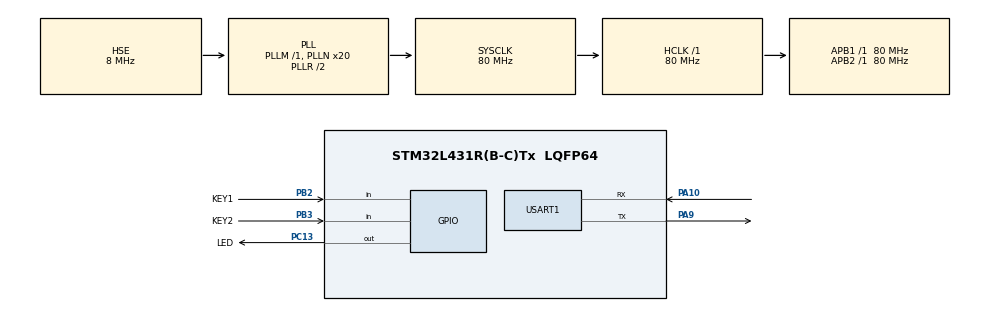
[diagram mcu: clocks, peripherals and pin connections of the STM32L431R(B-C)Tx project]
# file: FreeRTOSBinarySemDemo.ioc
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FREERTOS.BinarySemaphores01=myBinarySem01,Dynamic,NULL
FREERTOS.Tasks01=Receive_Task,0,128,StartDefaultTask,Default,NULL,Dynamic,NULL,NULL;Send_Task,-2,128,StartTask02,Default,NULL,Dynamic,NULL,NULL
Mcu.Family=STM32L4
Mcu.Name=STM32L431R(B-C)Tx
Mcu.Package=LQFP64
NVIC.PriorityGroup=NVIC_PRIORITYGROUP_4
NVIC.TIM1_UP_TIM16_IRQn=true\:0\:0\:false\:false\:true\:false\:false\:true
NVIC.TimeBase=TIM1_UP_TIM16_IRQn
NVIC.TimeBaseIP=TIM1
PA10.Mode=Asynchronous
PA10.Signal=USART1_RX
PA9.Mode=Asynchronous
PA9.Signal=USART1_TX
PB2.GPIO_Label=KEY1
PB2.GPIO_PuPd=GPIO_PULLUP
PB2.Signal=GPIO_Input
PB3\ (JTDO-TRACESWO).GPIO_Label=KEY2
PB3\ (JTDO-TRACESWO).GPIO_PuPd=GPIO_PULLUP
PB3\ (JTDO-TRACESWO).Signal=GPIO_Input
PC13.GPIO_Label=LED
PC13.Signal=GPIO_Output
PC14-OSC32_IN\ (PC14).Mode=LSE-External-Oscillator
PC14-OSC32_IN\ (PC14).Signal=RCC_OSC32_IN
PC15-OSC32_OUT\ (PC15).Mode=LSE-External-Oscillator
PC15-OSC32_OUT\ (PC15).Signal=RCC_OSC32_OUT
PH0-OSC_IN\ (PH0).Mode=HSE-External-Oscillator
PH0-OSC_IN\ (PH0).Signal=RCC_OSC_IN
PH1-OSC_OUT\ (PH1).Mode=HSE-External-Oscillator
PH1-OSC_OUT\ (PH1).Signal=RCC_OSC_OUT
ProjectManager.HeapSize=0x200
ProjectManager.StackSize=0x400
ProjectManager.TargetToolchain=SW4STM32
RCC.ADCFreq_Value=32000000
RCC.AHBFreq_Value=80000000
RCC.APB1Freq_Value=80000000
RCC.APB1TimFreq_Value=80000000
RCC.APB2Freq_Value=80000000
RCC.APB2TimFreq_Value=80000000
RCC.CortexFreq_Value=80000000
RCC.HCLKFreq_Value=80000000
RCC.HSE_VALUE=8000000
RCC.HSI48_VALUE=48000000
RCC.HSI_VALUE=16000000
RCC.MSI_VALUE=4000000
RCC.PLLN=20
RCC.PLLSourceVirtual=RCC_PLLSOURCE_HSE
RCC.SYSCLKFreq_VALUE=80000000
RCC.SYSCLKSource=RCC_SYSCLKSOURCE_PLLCLK
RCC.VCOOutputFreq_Value=160000000
USART1.VirtualMode-Asynchronous=VM_ASYNC
VP_FREERTOS_VS_CMSIS_V1.Mode=CMSIS_V1
VP_SYS_VS_tim1.Mode=TIM1
board=custom

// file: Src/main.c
/* USER CODE BEGIN Header */
/**
  ******************************************************************************
  * @file           : main.c
  * @brief          : Main program body
  ******************************************************************************
  * @attention
  *
  * <h2><center>&copy; Copyright (c) 2020 STMicroelectronics.
  * All rights reserved.</center></h2>
  *
  * This software component is licensed by ST under Ultimate Liberty license
  * SLA0044, the "License"; You may not use this file except in compliance with
  * the License. You may obtain a copy of the License at:
  *                             www.st.com/SLA0044
  *
  ******************************************************************************
  */
/* USER CODE END Header */

#include "main.h"
#include "cmsis_os.h"
#include "usart.h"
#include "gpio.h"
#include <stdio.h>
int _write(int fd, char *ptr, int len)
{
    HAL_UART_Transmit(&huart1, (uint8_t*)ptr, len, 0xFFFF);
    return len;
}

void SystemClock_Config(void);
void MX_FREERTOS_Init(void);

int main(void)
{

  /* MCU Configuration--------------------------------------------------------*/

  /* Reset of all peripherals, Initializes the Flash interface and the Systick. */
  HAL_Init();

  /* Configure the system clock */
  SystemClock_Config();

  /* Initialize all configured peripherals */
  MX_GPIO_Init();
  MX_USART1_UART_Init();
  /* USER CODE BEGIN 2 */
  printf("BinarySem test\n");

  /* USER CODE END 2 */

  /* Call init function for freertos objects (in freertos.c) */
  MX_FREERTOS_Init();

  /* Start scheduler */
  osKernelStart();

  /* We should never get here as control is now taken by the scheduler */

  /* Infinite loop */
  while (1)
  {

  }
}

void SystemClock_Config(void)
{
  RCC_OscInitTypeDef RCC_OscInitStruct = {0};
  RCC_ClkInitTypeDef RCC_ClkInitStruct = {0};
  RCC_PeriphCLKInitTypeDef PeriphClkInit = {0};

  /** Initializes the CPU, AHB and APB busses clocks
  */
  RCC_OscInitStruct.OscillatorType = RCC_OSCILLATORTYPE_HSE;
  RCC_OscInitStruct.HSEState = RCC_HSE_ON;
  RCC_OscInitStruct.PLL.PLLState = RCC_PLL_ON;
  RCC_OscInitStruct.PLL.PLLSource = RCC_PLLSOURCE_HSE;
  RCC_OscInitStruct.PLL.PLLM = 1;
  RCC_OscInitStruct.PLL.PLLN = 20;
  RCC_OscInitStruct.PLL.PLLP = RCC_PLLP_DIV7;
  RCC_OscInitStruct.PLL.PLLQ = RCC_PLLQ_DIV2;
  RCC_OscInitStruct.PLL.PLLR = RCC_PLLR_DIV2;
  if (HAL_RCC_OscConfig(&RCC_OscInitStruct) != HAL_OK)
  {
    Error_Handler();
  }
  /** Initializes the CPU, AHB and APB busses clocks
  */
  RCC_ClkInitStruct.ClockType = RCC_CLOCKTYPE_HCLK|RCC_CLOCKTYPE_SYSCLK
                              |RCC_CLOCKTYPE_PCLK1|RCC_CLOCKTYPE_PCLK2;
  RCC_ClkInitStruct.SYSCLKSource = RCC_SYSCLKSOURCE_PLLCLK;
  RCC_ClkInitStruct.AHBCLKDivider = RCC_SYSCLK_DIV1;
  RCC_ClkInitStruct.APB1CLKDivider = RCC_HCLK_DIV1;
  RCC_ClkInitStruct.APB2CLKDivider = RCC_HCLK_DIV1;

  if (HAL_RCC_ClockConfig(&RCC_ClkInitStruct, FLASH_LATENCY_4) != HAL_OK)
  {
    Error_Handler();
  }
  PeriphClkInit.PeriphClockSelection = RCC_PERIPHCLK_USART1;
  PeriphClkInit.Usart1ClockSelection = RCC_USART1CLKSOURCE_PCLK2;
  if (HAL_RCCEx_PeriphCLKConfig(&PeriphClkInit) != HAL_OK)
  {
    Error_Handler();
  }
  /** Configure the main internal regulator output voltage
  */
  if (HAL_PWREx_ControlVoltageScaling(PWR_REGULATOR_VOLTAGE_SCALE1) != HAL_OK)
  {
    Error_Handler();
  }
}

void HAL_TIM_PeriodElapsedCallback(TIM_HandleTypeDef *htim)
{
  if (htim->Instance == TIM1) {
    HAL_IncTick();
  }
}

void Error_Handler(void)
{
}

/************************ (C) COPYRIGHT STMicroelectronics *****END OF FILE****/

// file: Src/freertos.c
/* USER CODE BEGIN Header */
/**
  ******************************************************************************
  * File Name          : freertos.c
  * Description        : Code for freertos applications
  ******************************************************************************
  * @attention
  *
  * <h2><center>&copy; Copyright (c) 2020 STMicroelectronics.
  * All rights reserved.</center></h2>
  *
  * This software component is licensed by ST under Ultimate Liberty license
  * SLA0044, the "License"; You may not use this file except in compliance with
  * the License. You may obtain a copy of the License at:
  *                             www.st.com/SLA0044
  *
  ******************************************************************************
  */
/* USER CODE END Header */

#include "FreeRTOS.h"
#include "task.h"
#include "main.h"
#include "cmsis_os.h"
#include <stdio.h>

osThreadId Receive_TaskHandle;
osThreadId Send_TaskHandle;
osSemaphoreId myBinarySem01Handle;

void StartDefaultTask(void const * argument);
void StartTask02(void const * argument);

void MX_FREERTOS_Init(void); /* (MISRA C 2004 rule 8.1) */

/* GetIdleTaskMemory prototype (linked to static allocation support) */
void vApplicationGetIdleTaskMemory( StaticTask_t **ppxIdleTaskTCBBuffer, StackType_t **ppxIdleTaskStackBuffer, uint32_t *pulIdleTaskStackSize );

/* USER CODE BEGIN GET_IDLE_TASK_MEMORY */
static StaticTask_t xIdleTaskTCBBuffer;
static StackType_t xIdleStack[configMINIMAL_STACK_SIZE];

void vApplicationGetIdleTaskMemory( StaticTask_t **ppxIdleTaskTCBBuffer, StackType_t **ppxIdleTaskStackBuffer, uint32_t *pulIdleTaskStackSize )
{
  *ppxIdleTaskTCBBuffer = &xIdleTaskTCBBuffer;
  *ppxIdleTaskStackBuffer = &xIdleStack[0];
  *pulIdleTaskStackSize = configMINIMAL_STACK_SIZE;
  /* place for user code */
}
/* USER CODE END GET_IDLE_TASK_MEMORY */

void MX_FREERTOS_Init(void) {

  /* Create the semaphores(s) */
  /* definition and creation of myBinarySem01 */
  osSemaphoreDef(myBinarySem01);
  myBinarySem01Handle = osSemaphoreCreate(osSemaphore(myBinarySem01), 1);

  /* Create the thread(s) */
  /* definition and creation of Receive_Task */
  osThreadDef(Receive_Task, StartDefaultTask, osPriorityNormal, 0, 128);
  Receive_TaskHandle = osThreadCreate(osThread(Receive_Task), NULL);

  /* definition and creation of Send_Task */
  osThreadDef(Send_Task, StartTask02, osPriorityLow, 0, 128);
  Send_TaskHandle = osThreadCreate(osThread(Send_Task), NULL);

}

void StartDefaultTask(void const * argument)
{
  /* USER CODE BEGIN StartDefaultTask */
  BaseType_t xReturn = pdPASS;
  /* Infinite loop */
  for(;;)
  {
    //获取二值信号量，没获取到则一直等待
    xReturn = xSemaphoreTake(myBinarySem01Handle, portMAX_DELAY);
    if(xReturn == pdTRUE){
        printf("BinarySem_Handle二值信号获取成功!\n");
        HAL_GPIO_TogglePin(LED_GPIO_Port, LED_Pin);
    }
    //osDelay(1);
  }
  /* USER CODE END StartDefaultTask */
}

void StartTask02(void const * argument)
{
  /* USER CODE BEGIN StartTask02 */
  BaseType_t xReturn = pdPASS;
  /* Infinite loop */
  for(;;)
  {
    if(HAL_GPIO_ReadPin(KEY1_GPIO_Port, KEY1_Pin) == GPIO_PIN_RESET){
        xReturn = xSemaphoreGive(myBinarySem01Handle);
        if(pdTRUE == xReturn){
            printf("BinarySem_Handle二值信号量释放成功\n");
        }
        else{
            printf("BinarySem_Handle二值信号量释放失败\n");
        }
    }
    if(HAL_GPIO_ReadPin(KEY2_GPIO_Port, KEY2_Pin) == GPIO_PIN_RESET){
        xReturn = xSemaphoreGive(myBinarySem01Handle);
        if(pdTRUE == xReturn){
            printf("BinarySem_Handle二值信号量释放成功\n");
        }
        else{
            printf("BinarySem_Handle二值信号量释放失败\n");
        }
    }
    osDelay(500);
  }
  /* USER CODE END StartTask02 */
}

/************************ (C) COPYRIGHT STMicroelectronics *****END OF FILE****/
